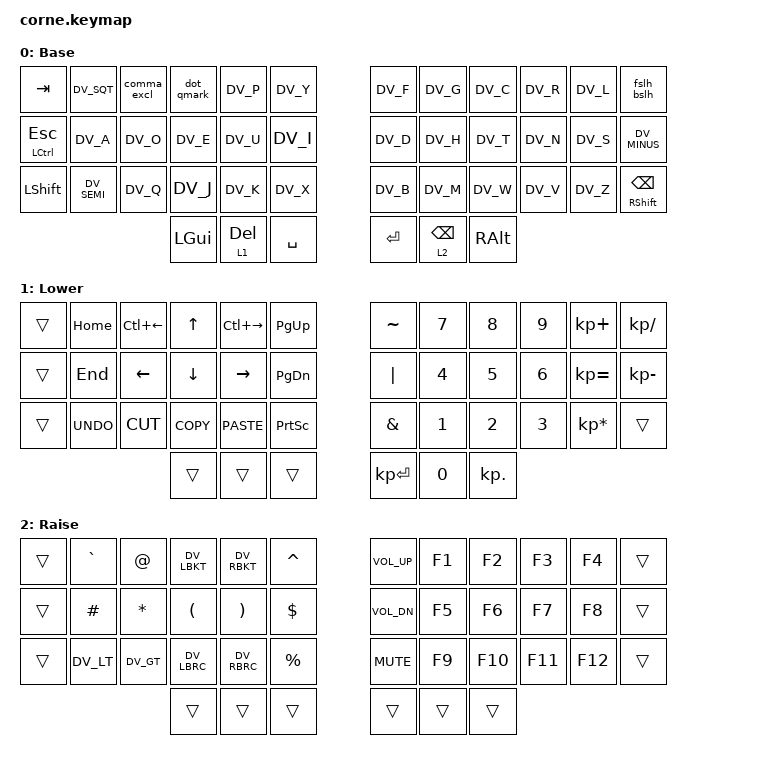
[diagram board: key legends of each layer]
/*
 * Copyright (c) 2020 The ZMK Contributors
 *
 * SPDX-License-Identifier: MIT
 */

#include <behaviors.dtsi>
#include <dt-bindings/zmk/keys.h>
#include <dt-bindings/zmk/bt.h>
#include "keys.h"

&mt {
        tapping-term-ms = <150>;
        quick-tap-ms = <150>;
};

&lt {
        tapping-term-ms = <150>;
        quick-tap-ms = <150>;
        flavor = "hold-preferred";
};

/ {
        behaviors {
                comma_excl: comma_excl {
                        compatible = "zmk,behavior-mod-morph";
                        #binding-cells = <0>;
                        bindings = <&kp DV_COMMA>, <&kp EXCL>;
                        mods = <(MOD_LSFT|MOD_RSFT)>;
                };

                dot_qmark: dot_qmark {
                        compatible = "zmk,behavior-mod-morph";
                        #binding-cells = <0>;
                        bindings = <&kp DV_DOT>, <&kp DV_QMARK>;
                        mods = <(MOD_LSFT|MOD_RSFT)>;
                };

                fslh_bslh: fslh_bslh {
                        compatible = "zmk,behavior-mod-morph";
                        #binding-cells = <0>;
                        bindings = <&kp DV_FSLH>, <&kp BSLH>;
                        mods = <(MOD_LSFT|MOD_RSFT)>;
                };
        };

        macros {
                dotdot_slash: dotdot_slash {
                        compatible = "zmk,behavior-macro";
                        #binding-cells = <0>;
                        bindings = <&kp DV_DOT &kp DV_DOT &kp DV_FSLH>;
                };
        };

        combos {
                compatible = "zmk,combos";
                combo_dotdot_slash {
                        timeout-ms = <50>;
                        key-positions = <3 11>;
                        bindings = <&dotdot_slash>;
                };
        };

        keymap {
                compatible = "zmk,keymap";

                default_layer {
// ---------------------------------------------------------------------------------------------------------
// |   TAB   |   '   |   ,   |   .   |   P   |   Y   |   |   F   |   G   |   C   |   R   |   L   |    /    |
// | ESC/CTL |   A   |   O   |   E   |   U   |   I   |   |   D   |   H   |   T   |   N   |   S   |    -    |
// |  SHIFT  |   ;   |   Q   |   J   |   K   |   X   |   |   B   |   M   |   W   |   V   |   Z   | BSP/SFT |
//                           |  GUI  |DEL/LWR|  SPC  |   |  ENT  |BSP/RSE|  ALT  |
                        display-name = "Base";
                        bindings = <
   &kp TAB    &kp DV_SQT  &comma_excl &dot_qmark &kp DV_P &kp DV_Y  &kp DV_F   &kp DV_G  &kp DV_C &kp DV_R &kp DV_L &fslh_bslh
&mt LCTRL ESC &kp DV_A    &kp DV_O    &kp DV_E   &kp DV_U  &kp DV_I  &kp DV_D   &kp DV_H  &kp DV_T &kp DV_N &kp DV_S &kp DV_MINUS
   &kp LSHFT  &kp DV_SEMI &kp DV_Q    &kp DV_J   &kp DV_K  &kp DV_X  &kp DV_B   &kp DV_M  &kp DV_W &kp DV_V &kp DV_Z &mt RSHFT BSPC
                          &kp LGUI    &lt 1 DEL  &kp SPACE &kp RET   &lt 2 BSPC &kp RALT
                        >;
                };
                lower_layer {
// ---------------------------------------------------------------------------------------------------------
// |         | HOME  | WRD-L |  UP   | WRD-R | PGUP  |   |   ~   |   7   |   8   |   9   |   +   |    /    |
// |         |  END  | LEFT  | DOWN  | RGHT  | PGDN  |   | PIPE  |   4   |   5   |   6   |   =   |    -    |
// |         | UNDO  |  CUT  | COPY  | PASTE | PSCR  |   |   &   |   1   |   2   |   3   |   *   |         |
//                           |       |       |       |   |  ENT  |   0   |   .   |
                        display-name = "Lower";
                        bindings = <
   &trans &kp HOME     &kp LC(LEFT) &kp UP     &kp LC(RIGHT) &kp PG_UP  &kp TILDE &kp N7  &kp N8  &kp N9 &kp KP_PLUS     &kp KP_SLASH
   &trans &kp END      &kp LEFT     &kp DOWN   &kp RIGHT     &kp PG_DN  &kp PIPE  &kp N4  &kp N5  &kp N6 &kp KP_EQUAL    &kp KP_MINUS
   &trans &kp K_UNDO   &kp K_CUT    &kp K_COPY &kp K_PASTE   &kp PSCRN  &kp AMPS  &kp N1  &kp N2  &kp N3 &kp KP_ASTERISK &trans
                            &trans       &trans     &trans        &kp KP_ENTER &kp N0  &kp KP_DOT
                        >;
                };

                raise_layer {
// ---------------------------------------------------------------------------------------------------------
// |         |   `   |   @   |   [   |   ]   |   ^   |   | VOL+  |  F1   |  F2   |  F3   |  F4   |         |
// |         |   #   |   *   |   (   |   )   |   $   |   | VOL-  |  F5   |  F6   |  F7   |  F8   |         |
// |         |   <   |   >   |   {   |   }   |   %   |   | MUTE  |  F9   |  F10  |  F11  |  F12  |         |
//                           |       |       |       |   |       |       |       |
                        display-name = "Raise";
                        bindings = <
   &trans &kp GRAVE &kp AT    &kp DV_LBKT &kp DV_RBKT &kp CARET  &kp K_VOL_UP &kp F1  &kp F2  &kp F3  &kp F4  &trans
   &trans &kp HASH  &kp STAR  &kp LPAR    &kp RPAR    &kp DLLR   &kp K_VOL_DN &kp F5  &kp F6  &kp F7  &kp F8  &trans
   &trans &kp DV_LT &kp DV_GT &kp DV_LBRC &kp DV_RBRC &kp PRCNT  &kp K_MUTE   &kp F9  &kp F10 &kp F11 &kp F12 &trans
                    &trans    &trans      &trans      &trans     &trans       &trans
                        >;
                };

                extra_1 {
                        status = "reserved";
                };

                extra_2 {
                        status = "reserved";
                };

                extra_3 {
                        status = "reserved";
                };
        };
};
